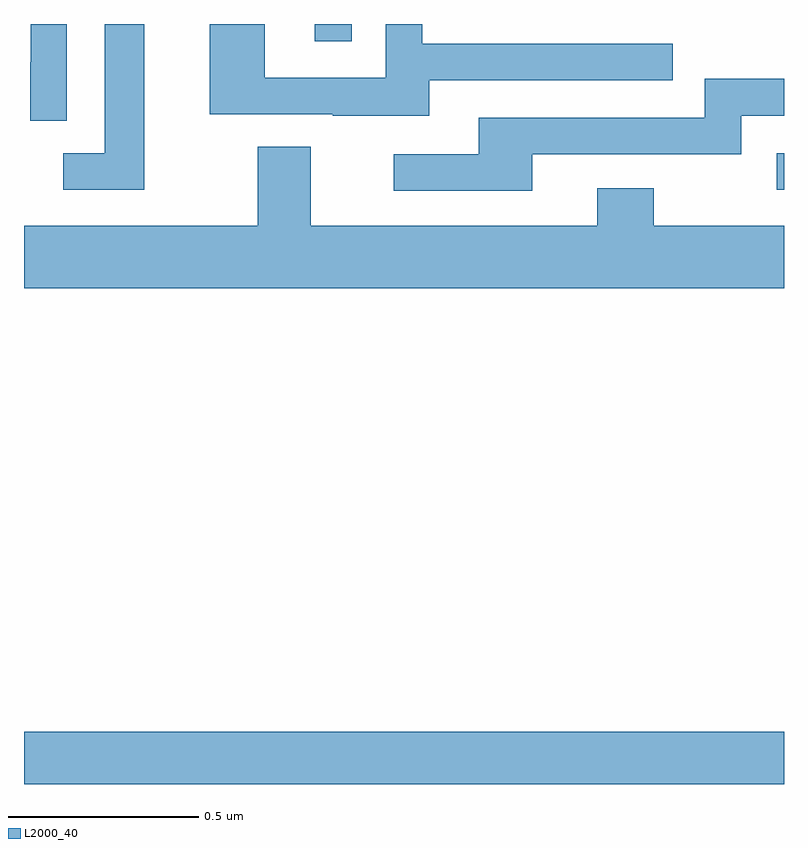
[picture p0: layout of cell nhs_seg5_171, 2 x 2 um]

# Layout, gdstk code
import gdstk
lib = gdstk.Library(unit=1e-6, precision=1e-09)
def R(c, l, rs):  # rectangles x0, y0, x1, y1
    for r in rs: c.add(gdstk.rectangle(r[:2], r[2:], *l))
def P(c, l, *ps):  # polygons
    for p in ps: c.add(gdstk.Polygon(p, *l))
L2000_40 = (2000, 40)

nhs_seg5_171 = lib.new_cell('nhs_seg5_171')
R(nhs_seg5_171, L2000_40, [(113,844.799,115,844.936), (114.981,846.363,115,846.459), (113.765,846.753,113.862,846.799)])
P(nhs_seg5_171, L2000_40, [(114.067,846.651),(114.707,846.651),(114.707,846.747),(114.048,846.747),(114.048,846.799),(113.952,846.799),(113.952,846.657),(113.634,846.657),(113.634,846.799),(113.489,846.799),(113.489,846.561),(113.813,846.561),(113.813,846.557),(114.067,846.557)],
  [(113.112,846.799),(113.018,846.799),(113.018,846.698),(113.016,846.698),(113.016,846.544),(113.112,846.544)],
  [(113.317,846.799),(113.213,846.799),(113.213,846.459),(113.103,846.459),(113.103,846.363),(113.317,846.363)],
  [(114.337,846.456),(114.888,846.456),(114.888,846.558),(115,846.558),(115,846.655),(114.792,846.655),(114.792,846.552),(114.197,846.552),(114.197,846.456),(113.973,846.456),(113.973,846.36),(114.337,846.36)],
  [(115,846.268),(114.657,846.268),(114.657,846.367),(114.509,846.367),(114.509,846.268),(113.755,846.268),(113.755,846.476),(113.615,846.476),(113.615,846.268),(113,846.268),(113,846.104),(115,846.104)])

lib.write_gds('nhs_seg5_171.gds')
